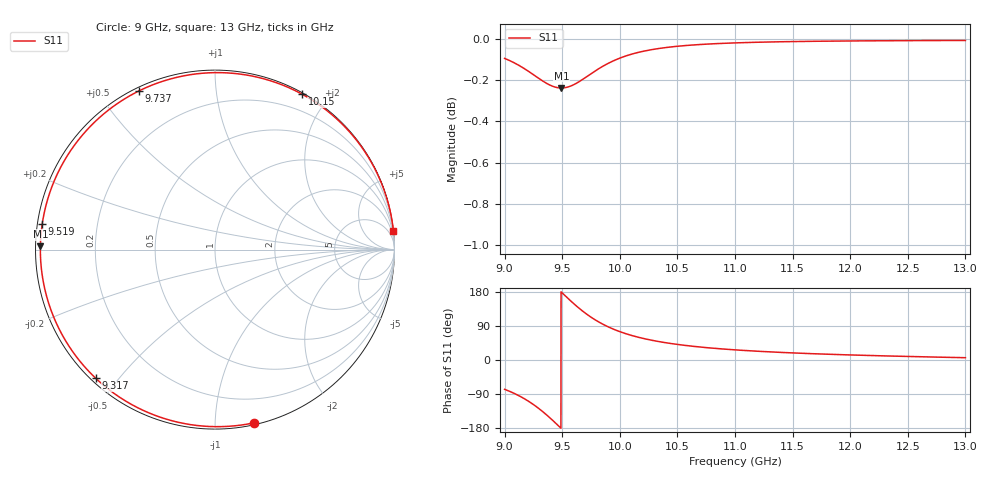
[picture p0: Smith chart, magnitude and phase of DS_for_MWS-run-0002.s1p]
! TOUCHSTONE file generated by CST DESIGN STUDIO
! Date and time: Wed Feb  5 13:28:51 2025
! Project name: C:\Work\MatlabApps\UnitCellOptimizationMatlab\CST\unitcell.cst
! Tree item: Tasks\Sweep1\SPara1\S-Parameters
! Header version: 2024
! Port assignment regex: !\s*Touchstone port\s*([0-9]+)\s*=\s*(CST MWS port|CST DES external port|CST DES block port)\s*(.+)\s* \(\"(.*)\"\)(\s*mode\s*([0-9]+))?.*
! Touchstone port assignment:
! Touchstone port 1 = CST DES external port 1 ("")
# GHz S MA R 50
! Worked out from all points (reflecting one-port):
!   4001 points, 9 GHz to 13 GHz, reference 50 ohm
!   lowest |S11| = -0.2 dB at 9.493 GHz (marker M1), VSWR 73.29, Z = 0.682 + j0.453 ohm
!   phase of S11 starts at -77 deg and turns -277 deg over the sweep
!   S11 on the Smith chart (normalised r, x): 9 GHz: 0.01, -1.25; 9.317 GHz: 0.01, -0.44; 9.519 GHz: 0.01, +0.07; 9.737 GHz: 0.01, +0.63; 10.15 GHz: 0.01, +1.71; 13 GHz: 0, +19
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9  0.9893 -77.4
9.081  0.987 -87.8
9.181  0.9833 -103.9
9.252  0.9803 -117.9
9.317  0.9774 -132.8
9.364  0.9756 -144.8
9.413  0.9741 -158.1
9.454  0.9733 -169.8
9.493  0.9731 179.0
9.5  0.9731 176.9
9.519  0.9732 171.4
9.572  0.9741 156.4
9.632  0.976 140.3
9.684  0.978 127.5
9.737  0.9803 115.7
9.791  0.9826 105.1
9.85  0.9849 94.9
9.924  0.9874 84.1
10  0.9895 74.9
10.153  0.9925 60.6
10.31  0.9945 50.2
10.5  0.9961 41.1
10.722  0.9971 33.5
11  0.9979 26.7
11.5  0.9987 18.7
12  0.999 13.3
12.5  0.9992 9.3
13  0.9993 6.1
